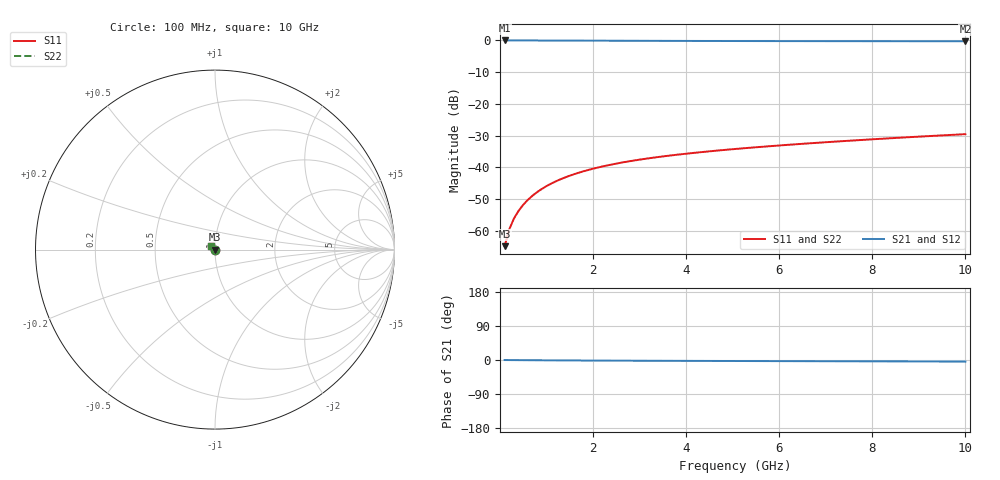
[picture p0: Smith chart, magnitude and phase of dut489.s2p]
! Touchstone file exported from HFSS 2024.1.0
!  File:  C:/UserFiles/LocalFiles/RDL_TSV_Batchsim/temp_TSV1_489_1779700440.aedt
!  Generated:  05:18:40 PM May 25, 2026
!  Design:  TSV1
!  Project:  temp_TSV1_489_1779700440
!  Setup:  Setup1
!  Solution:  Sweep
! Variables:
!  dtsv = 6.75um
!  hbump = 3um
!  htsv = 56.58um
!  lrdl = 252.1521522um
!  p = 40
!  p1 = 58.65um
!  t = 500um
!  trdl = 3um
!  wrdl = 24.89489489um
# GHz S MA R 50.000000
! Terminal data exported
! Port[1] = TSV22_T1
! Port[2] = TSV22_T2
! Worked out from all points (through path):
!   100 points, 100 MHz to 10 GHz, reference 50 ohm
!   highest |S21| = 0.00 dB at 100 MHz (marker M1); lowest = -0.3 dB at 10 GHz (marker M2)
!   lowest |S11| = -64.8 dB at 100 MHz (marker M3), VSWR 1.00, Z = 50 - j0.0525 ohm
!   |S11| at or under -10 dB: start of sweep to end of sweep
!   |S22| runs from -64.8 to -29.5 dB; largest |S21 - S12| = 1e-15
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0.1  0.0005734 -66.3  0.9997 -0.1  0.9997 -0.1  0.0005734 -66.3
! Gamma 0 0 0 0
! Port Impedance 50 0 50 0
0.2  0.001058 -81.5  0.9996 -0.2  0.9996 -0.2  0.001058 -81.5
0.3  0.00156 -88.8  0.9995 -0.3  0.9995 -0.3  0.00156 -88.8
0.4  0.002068 -93.8  0.9993 -0.3  0.9993 -0.3  0.002068 -93.8
0.5  0.002575 -97.9  0.9991 -0.4  0.9991 -0.4  0.002575 -97.9
0.6  0.003082 -101.4  0.9988 -0.5  0.9988 -0.5  0.003082 -101.4
0.7  0.003585 -104.7  0.9985 -0.6  0.9985 -0.6  0.003585 -104.7
0.8  0.004085 -107.7  0.9982 -0.7  0.9982 -0.7  0.004085 -107.7
0.9  0.004579 -110.7  0.9978 -0.7  0.9978 -0.7  0.004579 -110.7
1.1  0.005549 -116.1  0.9969 -0.9  0.9969 -0.9  0.005549 -116.1
1.4  0.006949 -123.8  0.9955 -1.1  0.9955 -1.1  0.006949 -123.8
1.6  0.007842 -128.6  0.9944 -1.2  0.9944 -1.2  0.007842 -128.6
1.8  0.008703 -133.3  0.9933 -1.4  0.9933 -1.4  0.008703 -133.3
2.1  0.009934 -139.9  0.9917 -1.5  0.9917 -1.5  0.009934 -139.9
2.5  0.01147 -148.0  0.9895 -1.7  0.9895 -1.7  0.01147 -148.0
2.9  0.0129 -155.5  0.9874 -1.9  0.9874 -1.9  0.0129 -155.5
3.4  0.01456 -164.0  0.985 -2.1  0.985 -2.1  0.01456 -164.0
4.2  0.01702 -175.8  0.9818 -2.4  0.9818 -2.4  0.01702 -175.8
5.1  0.01962 173.2  0.979 -2.7  0.979 -2.7  0.01962 173.2
6.7  0.02407 158.0  0.9755 -3.2  0.9755 -3.2  0.02407 158.0
8.4  0.0288 146.2  0.9731 -3.7  0.9731 -3.7  0.0288 146.2
10  0.03336 137.7  0.9715 -4.2  0.9715 -4.2  0.03336 137.7
